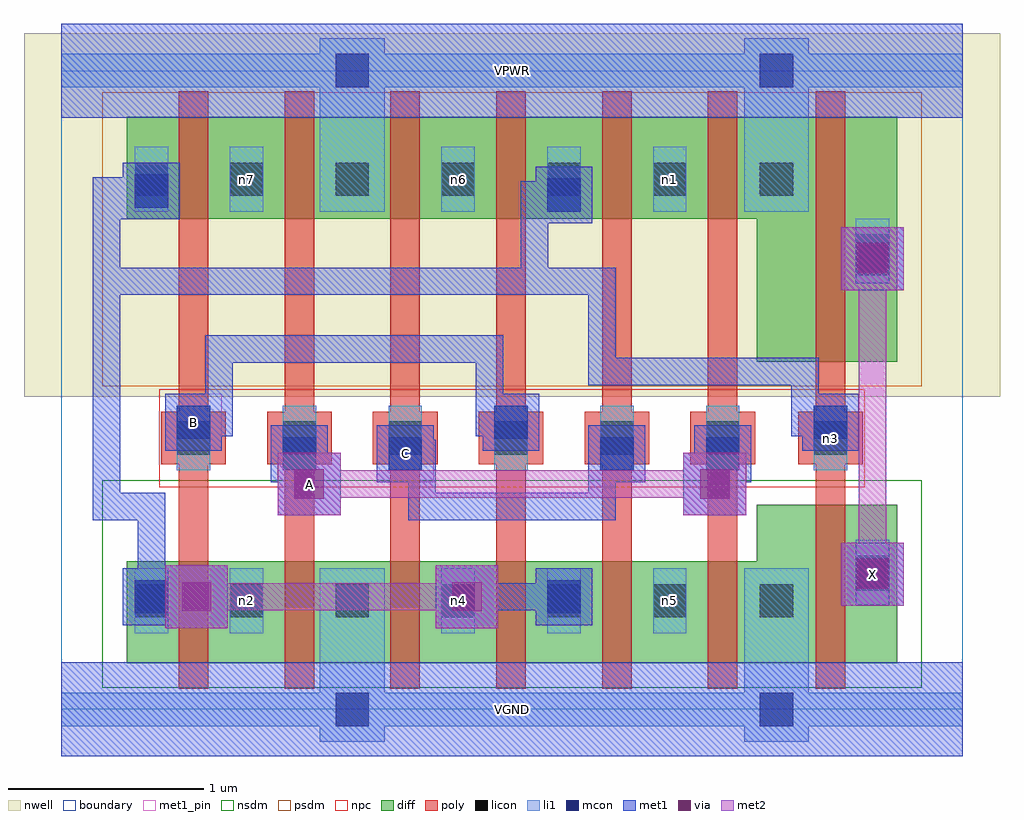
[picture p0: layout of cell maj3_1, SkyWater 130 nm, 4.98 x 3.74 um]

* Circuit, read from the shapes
.subckt maj3_1 A B C VGND VPWR X n1 n2 n3 n4 n5 n6 n7
XM1 n2 B n3 VSUBS sky130_fd_pr__nfet_01v8 w=0.52 l=0.15
XM2 VGND A n2 VSUBS sky130_fd_pr__nfet_01v8 w=0.52 l=0.15
XM3 n4 C VGND VSUBS sky130_fd_pr__nfet_01v8 w=0.52 l=0.15
XM4 n3 B n4 VSUBS sky130_fd_pr__nfet_01v8 w=0.52 l=0.15
XM5 n5 C n3 VSUBS sky130_fd_pr__nfet_01v8 w=0.52 l=0.15
XM6 VGND A n5 VSUBS sky130_fd_pr__nfet_01v8 w=0.52 l=0.15
XM7 X n3 VGND VSUBS sky130_fd_pr__nfet_01v8 w=0.81 l=0.15
XM8 n7 B n3 n8 sky130_fd_pr__pfet_01v8 w=0.52 l=0.15
XM9 VPWR A n7 n8 sky130_fd_pr__pfet_01v8 w=0.52 l=0.15
XM10 n6 C VPWR n8 sky130_fd_pr__pfet_01v8 w=0.52 l=0.15
XM11 n3 B n6 n8 sky130_fd_pr__pfet_01v8 w=0.52 l=0.15
XM12 n1 C n3 n8 sky130_fd_pr__pfet_01v8 w=0.52 l=0.15
XM13 VPWR A n1 n8 sky130_fd_pr__pfet_01v8 w=0.52 l=0.15
XM14 X n3 VPWR n8 sky130_fd_pr__pfet_01v8 w=1.25 l=0.15
.ends

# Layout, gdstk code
import gdstk
lib = gdstk.Library(unit=1e-6, precision=1e-09)
def R(c, l, rs):  # rectangles x0, y0, x1, y1
    for r in rs: c.add(gdstk.rectangle(r[:2], r[2:], *l))
def A(c, l, x, y, w, h, nx, ny, dx, dy):  # array of equal rectangles
    R(c, l, [(x+i*dx, y+j*dy, x+i*dx+w, y+j*dy+h) for i in range(nx) for j in range(ny)])
nwell = (64, 20)
diff = (65, 20)
poly = (66, 20)
licon = (66, 44)
li1 = (67, 20)
mcon = (67, 44)
met1_pin = (68, 16)
met1 = (68, 20)
via = (68, 44)
met2 = (69, 20)
nsdm = (93, 44)
psdm = (94, 20)
npc = (95, 20)
boundary = (235, 4)

maj3_1 = lib.new_cell('maj3_1')
R(maj3_1, nwell, [(-0.19,1.595,4.79,3.45), (0,1.595,4.6,3.45)])
R(maj3_1, diff, [(0.335,0.235,3.7,0.755), (3.55,0.235,4.265,1.045), (3.55,1.775,4.265,3.025), (0.335,2.505,3.7,3.025)])
A(maj3_1, poly, 0.6, 0.105, 0.15, 3.05, 6, 1, 0.54, 0)
A(maj3_1, poly, 0.51, 1.25, 0.33, 0.27, 6, 1, 0.54, 0)
R(maj3_1, poly, [(3.85,0.105,4,3.155), (3.76,1.25,4.09,1.52)])
A(maj3_1, licon, 0.86, 0.47, 0.17, 0.17, 5, 2, 0.54, 2.15)
A(maj3_1, licon, 0.59, 1.3, 0.17, 0.17, 6, 1, 0.54, 0)
R(maj3_1, licon, [(0.375,0.47,0.545,0.64), (3.565,0.47,3.735,0.64), (4.055,0.615,4.225,0.785), (3.84,1.3,4.01,1.47), (4.055,2.255,4.225,2.425), (0.375,2.62,0.545,2.79), (3.565,2.62,3.735,2.79)])
A(maj3_1, li1, 1.94, 0.39, 0.17, 0.33, 3, 2, 0.54, 2.15)
A(maj3_1, li1, 0.59, 1.22, 0.17, 0.33, 6, 1, 0.54, 0)
R(maj3_1, li1, [(1.32,-0.165,1.65,0.72), (3.485,-0.165,3.815,0.72), (0,-0.085,4.6,0.085), (0.375,0.39,0.545,0.72), (0.86,0.39,1.03,0.72), (4.055,0.535,4.225,0.865), (3.84,1.22,4.01,1.55), (4.055,2.175,4.225,2.505), (0.375,2.54,0.545,2.87), (0.86,2.54,1.03,2.87), (1.32,2.54,1.65,3.425), (3.485,2.54,3.815,3.425), (0,3.175,4.6,3.345)])
R(maj3_1, mcon, [(1.4,-0.085,1.57,0.085), (3.565,-0.085,3.735,0.085), (0.375,0.49,0.545,0.66), (2.48,0.49,2.65,0.66), (4.055,0.605,4.225,0.775), (1.13,1.22,1.3,1.39), (1.67,1.22,1.84,1.39), (2.75,1.22,2.92,1.39), (3.29,1.22,3.46,1.39), (0.59,1.38,0.76,1.55), (2.21,1.38,2.38,1.55), (3.84,1.38,4.01,1.55), (4.055,2.215,4.225,2.385), (2.48,2.54,2.65,2.71), (0.375,2.56,0.545,2.73), (1.4,3.175,1.57,3.345), (3.565,3.175,3.735,3.345)])
R(maj3_1, met1_pin, [(0,-0.24,4.6,0.24), (3.98,0.53,4.3,0.85), (1.105,0.99,1.425,1.31), (1.61,1.16,1.9,1.45), (0.53,1.32,0.82,1.61), (0,3.02,4.6,3.5)])
R(maj3_1, met1, [(0,-0.24,4.6,0.24), (0.53,0.415,0.85,0.735), (1.91,0.415,2.23,0.735), (0.315,0.43,0.605,0.72), (2.42,0.43,2.71,0.72), (0.39,0.505,0.53,1.105), (0.39,0.505,0.76,0.645), (2,0.505,2.485,0.645), (2.345,0.505,2.635,0.645), (3.98,0.53,4.3,0.85), (3.995,0.545,4.285,0.835), (0.16,0.965,0.53,1.105), (0.16,0.965,0.3,2.715), (1.77,0.965,1.91,1.22), (1.77,0.965,2.83,1.105), (2.69,0.965,2.83,1.22), (1.105,0.99,1.425,1.31), (3.175,0.99,3.495,1.31), (1.195,1.08,1.335,1.375), (1.77,1.08,1.91,1.375), (2.69,1.08,2.83,1.375), (3.265,1.08,3.405,1.375), (1.07,1.16,1.36,1.45), (1.61,1.16,1.9,1.45), (2.69,1.16,2.98,1.45), (3.23,1.16,3.52,1.45), (1.145,1.235,1.335,1.375), (1.685,1.235,1.91,1.375), (2.69,1.235,2.905,1.375), (3.265,1.235,3.445,1.375), (0.53,1.32,0.82,1.61), (2.15,1.32,2.44,1.61), (3.78,1.32,4.07,1.61), (0.605,1.395,0.875,1.535), (0.735,1.395,0.875,1.68), (2.115,1.395,2.255,1.68), (2.115,1.395,2.365,1.535), (3.725,1.395,3.995,1.535), (3.725,1.395,3.865,1.68), (0.735,1.54,0.875,1.91), (2.115,1.54,2.255,1.91), (3.725,1.54,3.865,1.795), (2.69,1.655,2.83,2.255), (2.69,1.655,3.865,1.795), (0.735,1.77,2.255,1.91), (0.16,2.115,2.485,2.255), (2.345,2.115,2.485,2.6), (2.345,2.115,2.83,2.255), (3.98,2.14,4.3,2.46), (3.995,2.155,4.285,2.445), (2.345,2.46,2.485,2.695), (2.42,2.48,2.71,2.77), (0.3,2.5,0.315,2.715), (0.315,2.5,0.605,2.79), (2.345,2.555,2.635,2.695), (0.16,2.575,0.53,2.715), (0,3.02,4.6,3.5)])
R(maj3_1, via, [(0.615,0.5,0.765,0.65), (1.995,0.5,2.145,0.65), (4.065,0.615,4.215,0.765), (1.19,1.075,1.34,1.225), (3.26,1.075,3.41,1.225), (4.065,2.225,4.215,2.375)])
R(maj3_1, met2, [(0.53,0.415,0.85,0.735), (1.91,0.415,2.23,0.735), (0.62,0.505,2.14,0.645), (3.98,0.53,4.3,0.85), (4.07,0.62,4.21,2.37), (1.105,0.99,1.425,1.31), (3.175,0.99,3.495,1.31), (1.195,1.08,3.405,1.22), (3.98,2.14,4.3,2.46)])
R(maj3_1, nsdm, [(0.21,0.11,4.39,1.17)])
R(maj3_1, psdm, [(0.21,1.65,4.39,3.15)])
R(maj3_1, npc, [(0.5,1.135,4.1,1.635)])
R(maj3_1, boundary, [(0,0,4.6,3.26)])
maj3_1.add(gdstk.Label('n3', (3.925,1.385), layer=67, texttype=5))
maj3_1.add(gdstk.Label('n2', (0.945,0.555), layer=67, texttype=5))
maj3_1.add(gdstk.Label('n4', (2.025,0.555), layer=67, texttype=5))
maj3_1.add(gdstk.Label('n5', (3.105,0.555), layer=67, texttype=5))
maj3_1.add(gdstk.Label('n7', (0.945,2.705), layer=67, texttype=5))
maj3_1.add(gdstk.Label('n6', (2.025,2.705), layer=67, texttype=5))
maj3_1.add(gdstk.Label('n1', (3.105,2.705), layer=67, texttype=5))
maj3_1.add(gdstk.Label('A', (1.265,1.15), layer=68, texttype=5))
maj3_1.add(gdstk.Label('B', (0.675,1.465), layer=68, texttype=5))
maj3_1.add(gdstk.Label('C', (1.755,1.305), layer=68, texttype=5))
maj3_1.add(gdstk.Label('X', (4.14,0.69), layer=68, texttype=5))
maj3_1.add(gdstk.Label('VPWR', (2.3,3.26), layer=68, texttype=5))
maj3_1.add(gdstk.Label('VGND', (2.3,0), layer=68, texttype=5))
maj3_1.add(gdstk.Label('A', (1.265,1.15), layer=68, texttype=16))
maj3_1.add(gdstk.Label('B', (0.675,1.465), layer=68, texttype=16))
maj3_1.add(gdstk.Label('C', (1.755,1.305), layer=68, texttype=16))
maj3_1.add(gdstk.Label('X', (4.14,0.69), layer=68, texttype=16))
maj3_1.add(gdstk.Label('VPWR', (2.3,3.26), layer=68, texttype=16))
maj3_1.add(gdstk.Label('VGND', (2.3,0), layer=68, texttype=16))

lib.write_gds('maj3_1.gds')
